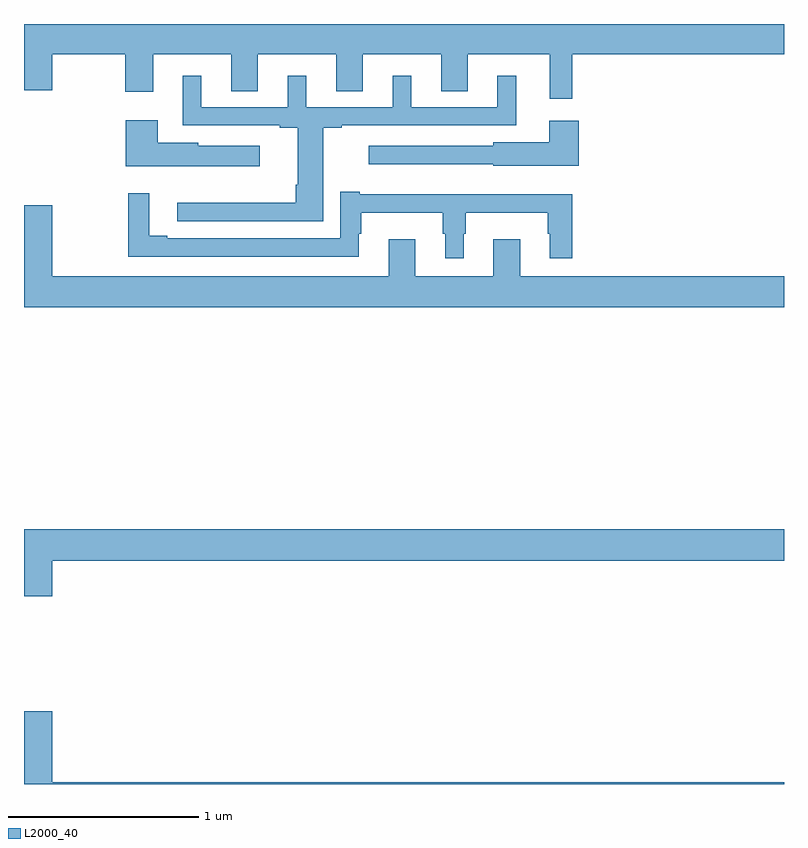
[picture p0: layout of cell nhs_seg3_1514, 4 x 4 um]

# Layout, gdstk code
import gdstk
lib = gdstk.Library(unit=1e-6, precision=1e-09)
def P(c, l, *ps):  # polygons
    for p in ps: c.add(gdstk.Polygon(p, *l))
L2000_40 = (2000, 40)

nhs_seg3_1514 = lib.new_cell('nhs_seg3_1514')
P(nhs_seg3_1514, L2000_40, [(191.885,710.24),(193,710.24),(193,710.4),(189,710.4),(189,710.052),(189.148,710.052),(189.148,710.24),(189.532,710.24),(189.532,710.043),(189.679,710.043),(189.679,710.24),(190.091,710.24),(190.091,710.047),(190.231,710.047),(190.231,710.24),(190.643,710.24),(190.643,710.047),(190.783,710.047),(190.783,710.24),(191.195,710.24),(191.195,710.047),(191.335,710.047),(191.335,710.24),(191.768,710.24),(191.768,710.007),(191.885,710.007)],
  [(190.576,709.854),(190.672,709.854),(190.672,709.866),(191.591,709.866),(191.591,710.128),(191.492,710.128),(191.492,709.962),(191.038,709.962),(191.038,710.128),(190.94,710.128),(190.94,709.962),(190.486,709.962),(190.486,710.128),(190.388,710.128),(190.388,709.962),(189.934,709.962),(189.934,710.128),(189.836,710.128),(189.836,709.866),(190.346,709.866),(190.346,709.854),(190.442,709.854),(190.442,709.555),(190.43,709.555),(190.43,709.46),(189.807,709.46),(189.807,709.362),(190.576,709.362)],
  [(190.24,709.759),(189.918,709.759),(189.918,709.774),(189.703,709.774),(189.703,709.894),(189.536,709.894),(189.536,709.652),(190.24,709.652)],
  [(191.921,709.891),(191.765,709.891),(191.765,709.777),(191.469,709.777),(191.469,709.758),(190.815,709.758),(190.815,709.661),(191.469,709.661),(191.469,709.655),(191.921,709.655)],
  [(191.314,709.295),(191.326,709.295),(191.326,709.406),(191.757,709.406),(191.757,709.295),(191.768,709.295),(191.768,709.167),(191.885,709.167),(191.885,709.504),(190.768,709.504),(190.768,709.516),(190.665,709.516),(190.665,709.272),(189.754,709.272),(189.754,709.285),(189.658,709.285),(189.658,709.51),(189.549,709.51),(189.549,709.176),(190.762,709.176),(190.762,709.295),(190.774,709.295),(190.774,709.406),(191.205,709.406),(191.205,709.295),(191.216,709.295),(191.216,709.167),(191.314,709.167)],
  [(193,709.072),(191.611,709.072),(191.611,709.267),(191.471,709.267),(191.471,709.072),(191.059,709.072),(191.059,709.267),(190.919,709.267),(190.919,709.072),(189.148,709.072),(189.148,709.447),(189,709.447),(189,708.908),(193,708.908)],
  [(189.148,707.576),(193,707.576),(193,707.74),(189,707.74),(189,707.388),(189.148,707.388)],
  [(193,706.408),(189.148,706.408),(189.148,706.783),(189,706.783),(189,706.4),(193,706.4)])

lib.write_gds('nhs_seg3_1514.gds')
